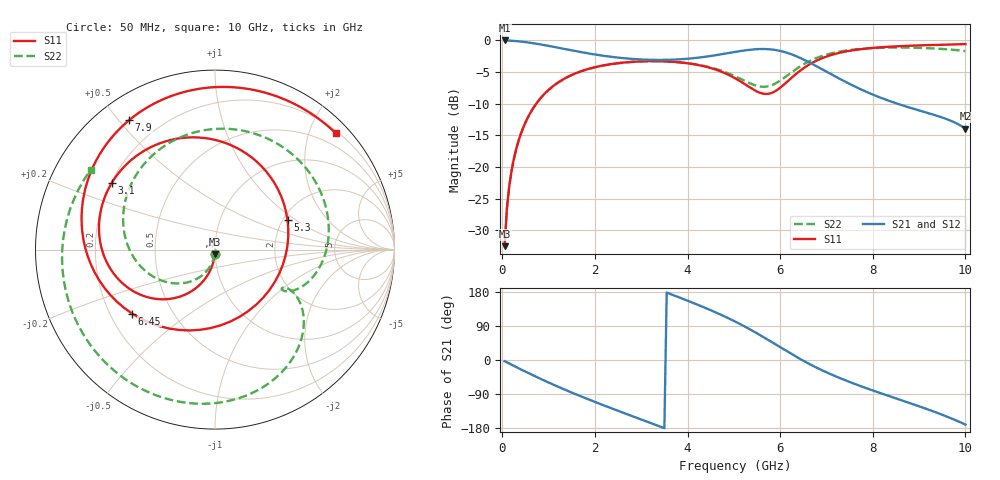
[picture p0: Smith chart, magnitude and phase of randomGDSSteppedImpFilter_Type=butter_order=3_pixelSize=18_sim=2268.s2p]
! freq	dB(S11)	phase(S11)	dB(S12)	phase(S12)
!  dB(S21)	phase(S21)	dB(S22)	phase(S22)
!S-par simulation data
#  GHz  S  DB  R 50
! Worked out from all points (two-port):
!   200 points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, 50 MHz to 10 GHz, reference 50 ohm
!   highest |S21| = -0.01 dB at 50 MHz (marker M1); lowest = -13.9 dB at 10 GHz (marker M2)
!   |S21| within 3 dB of the highest: start of sweep to 2.994 GHz; 3.778 GHz to 6.502 GHz (2.724 GHz wide, 53 % of centre)
!   lowest |S11| = -32.5 dB at 50 MHz (marker M3), VSWR 1.05, Z = 49.8 - j2.37 ohm
!   |S11| at or under -10 dB: start of sweep to 732.5 MHz
!   |S22| runs from -32.5 to -1.1 dB; largest |S21 - S12| = 0
!   S11 on the Smith chart (normalised r, x): 50 MHz: 1.00, -0.05; 3.1 GHz: 0.20, +0.28; 5.3 GHz: 2.12, +0.86; 6.45 GHz: 0.29, -0.32; 7.9 GHz: 0.09, +0.53; 10 GHz: 0.24, +2.47
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0.05  -32.48 -92.5  -0.01 -3.1  -0.01 -3.1  -32.48 -93.8
0.1  -26.49 -95.1  -0.02 -6.2  -0.02 -6.2  -26.51 -97.8
0.2  -20.57 -100.2  -0.06 -12.4  -0.06 -12.4  -20.59 -105.4
0.5  -12.95 -114.7  -0.27 -30.6  -0.27 -30.6  -12.97 -127.6
1.1  -7.20 -141.3  -1.00 -64.9  -1.00 -64.9  -7.22 -169.7
1.75  -4.75 -166.4  -1.92 -98.5  -1.92 -98.5  -4.77 148.2
2.45  -3.64 169.3  -2.68 -131.8  -2.68 -131.8  -3.66 106.0
3.1  -3.29 147.2  -3.04 -161.6  -3.04 -161.6  -3.31 68.9
3.4  -3.29 136.6  -3.08 -175.3  -3.08 -175.3  -3.30 52.4
4.35  -4.07 95.9  -2.62 139.2  -2.62 139.2  -4.01 3.6
5.05  -6.07 48.2  -1.79 100.1  -1.79 100.1  -5.74 -24.5
5.3  -7.21 22.1  -1.52 84.1  -1.52 84.1  -6.61 -29.9
5.6  -8.35 -20.0  -1.36 63.3  -1.36 63.3  -7.31 -30.5
5.95  -7.75 -78.0  -1.58 37.5  -1.58 37.5  -6.58 -28.2
6.45  -4.68 -142.3  -2.83 1.4  -2.83 1.4  -4.02 -38.2
6.7  -3.51 -165.2  -3.74 -14.9  -3.74 -14.9  -3.04 -47.7
7.2  -2.11 159.7  -5.73 -43.2  -5.73 -43.2  -1.88 -68.8
7.9  -1.26 123.7  -8.24 -76.1  -8.24 -76.1  -1.26 -97.9
8.35  -1.00 104.5  -9.54 -95.1  -9.54 -95.1  -1.14 -116.5
9.35  -0.71 66.8  -11.82 -137.5  -11.82 -137.5  -1.29 -164.4
9.7  -0.65 54.3  -12.73 -154.3  -12.73 -154.3  -1.46 172.8
10  -0.59 43.8  -13.94 -170.4  -13.94 -170.4  -1.69 147.3
